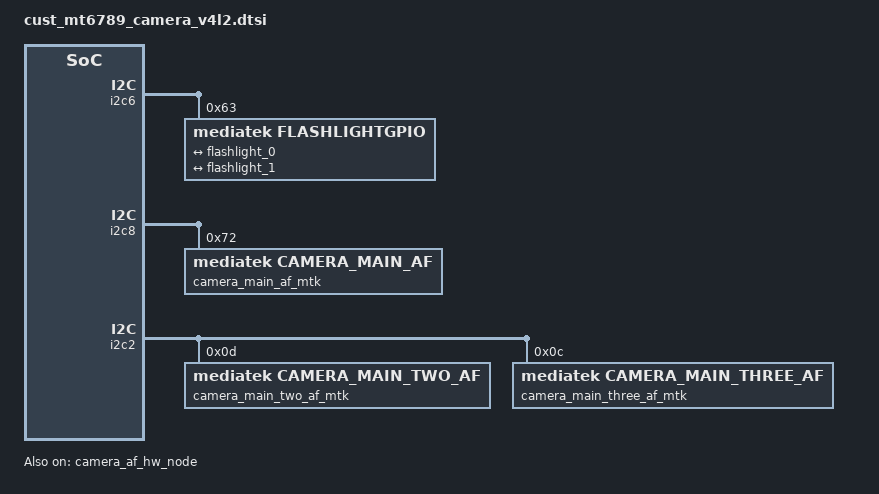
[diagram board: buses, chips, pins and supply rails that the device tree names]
// SPDX-License-Identifier: GPL-2.0
/* Copyright (c) 2020 MediaTek Inc. */

&i2c6 {
	flashlightgpio:flashlightgpio@63 {
		compatible = "mediatek,flashlightgpio";
		reg = <0x63>;
		#cooling-cells = <2>;
		pinctrl-names = "default", "enable_high", "enable_low", "mode_high", "mode_low";
		pinctrl-0 = <&flashlightgpio_pins_default>;
		pinctrl-1 = <&flashlightgpio_pins_enable_high>;
		pinctrl-2 = <&flashlightgpio_pins_enable_low>;
		pinctrl-3 = <&flashlightgpio_pins_mode_high>;
		pinctrl-4 = <&flashlightgpio_pins_mode_low>;
		status = "okay";
		flash@0{
			reg = <0>;
			type = <0>;
			ct = <0>;
			part = <0>;
			port@0 {
				fl_core_0: endpoint {
					remote-endpoint = <&flashlight_0>;
				};
			};
		};
		flash@1{
			reg = <1>;
			type = <0>;
			ct = <1>;
			part = <0>;
			port@1 {
				fl_core_1: endpoint {
					remote-endpoint = <&flashlight_1>;
				};
			};
		};
	};
};

&pio {
	flashlightgpio_pins_default: default {
	};

	flashlightgpio_pins_enable_high: enable_high {
		pins_cmd_dat {
			pinmux = <PINMUX_GPIO155__FUNC_GPIO155>;
			slew-rate = <1>;
			output-high;
		};
	};

	flashlightgpio_pins_enable_low: enable_low {
		pins_cmd_dat {
			pinmux = <PINMUX_GPIO155__FUNC_GPIO155>;
			slew-rate = <1>;
			output-low;
		};
	};

	flashlightgpio_pins_mode_high: mode_high {
		pins_cmd_dat {
			pinmux = <PINMUX_GPIO154__FUNC_GPIO154>;
			slew-rate = <1>;
			output-high;
		};
	};

	flashlightgpio_pins_mode_low: mode_low {
		pins_cmd_dat {
			pinmux = <PINMUX_GPIO154__FUNC_GPIO154>;
			slew-rate = <1>;
			output-low;
		};
	};
};

&mtk_composite_v4l2_1 {
	port@0 {
		flashlight_0: endpoint {
			remote-endpoint = <&fl_core_0>;
		};
	};
	port@1 {
		flashlight_1: endpoint {
			remote-endpoint = <&fl_core_1>;
		};
	};
};

/* CAMERA AF */
&i2c8 {
	camera_main_af_mtk:camera_main_af@72 {
		compatible = "mediatek,camera_main_af";
		reg = <0x72>;
		status = "okay";
	};
};

&i2c2 {
	camera_main_two_af_mtk:camera_main_two_af@0d {
		compatible = "mediatek,camera_main_two_af";
		reg = <0x0d>;
		status = "okay";
	};

	camera_main_three_af_mtk:camera_main_three_af@0c {
		compatible = "mediatek,camera_main_three_af";
		reg = <0x0c>;
		status = "okay";
	};
};

&camera_af_hw_node {
	camaf_m1_pmic-supply = <&wl2868c_ldo6>;
	camaf_m2_pmic-supply = <&wl2868c_ldo5>;
	camaf_m3_pmic-supply = <&wl2868c_ldo5>;
	status = "okay";
};
/* CAMERA AF end */
